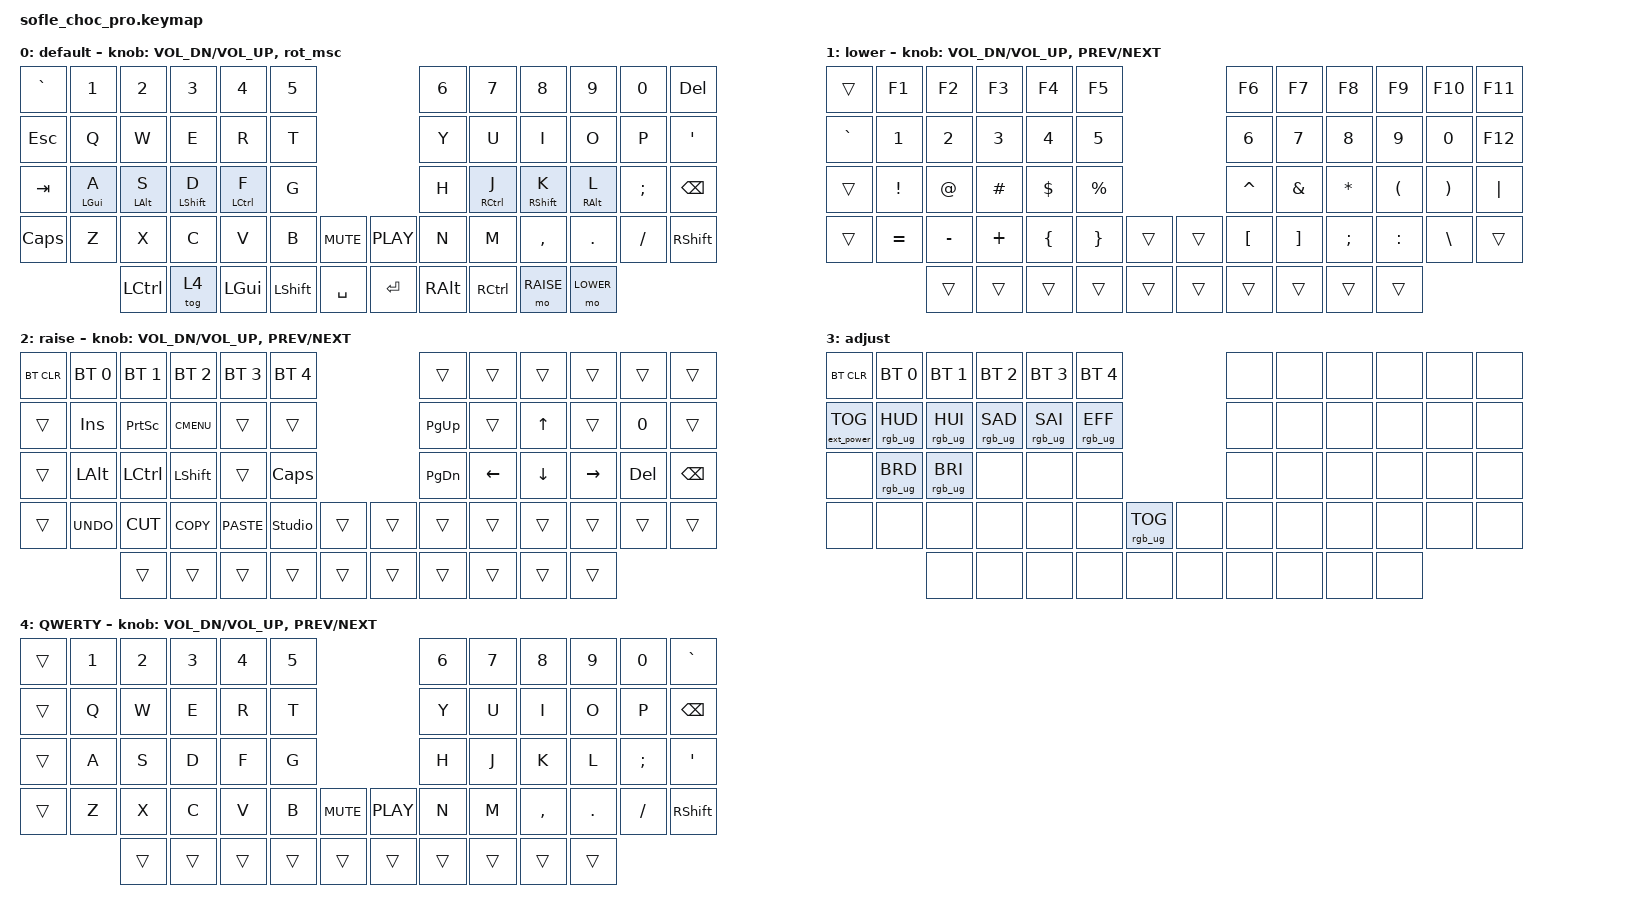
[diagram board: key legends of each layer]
/*
* Copyright (c) 2020 The ZMK Contributors
*
* SPDX-License-Identifier: MIT
*/

#include <behaviors.dtsi>
#include <dt-bindings/zmk/keys.h>
#include <dt-bindings/zmk/bt.h>
#include <dt-bindings/zmk/rgb.h>
#include <dt-bindings/zmk/ext_power.h>
#include <dt-bindings/zmk/pointing.h>

#define BASE 0
#define LOWER 1
#define RAISE 2
#define ADJUST 3
#define QWERTY 4

/ {

  // Activate ADJUST layer by pressing raise and lower
  conditional_layers {
    compatible = "zmk,conditional-layers";
    adjust_layer {
      if-layers = <LOWER RAISE>;
      then-layer = <ADJUST>;
    };
  };

  behaviors {
    rot_msc: sensor_rotate_msc {
        compatible = "zmk,behavior-sensor-rotate";
        #sensor-binding-cells = <0>;
        bindings = <&msc SCRL_DOWN>, <&msc SCRL_UP>;
        tap-ms = <40>;
    };
  };

  keymap {
    compatible = "zmk,keymap";

    default_layer {
      display-name = "default";
      // ------------------------------------------------------------------------------------------------------------
      // |   `   |  1  |  2  |  3   |  4   |  5   |                   |  6   |  7    |  8    |  9   |   0   |  DEL  |
      // |  ESC  |  Q  |  W  |  E   |  R   |  T   |                   |  Y   |  U    |  I    |  O   |   P   | BKSPC |
      // |  TAB  |  A  |  S  |  D   |  F   |  G   |                   |  H   |  J    |  K    |  L   |   ;   |   '   |
      // | SHIFT |  Z  |  X  |  C   |  V   |  B   |  MUTE  |  | PLAY  |  N   |  M    |  ,    |  .   |   /   | SHIFT |
      //               | GUI | ALT  | CTRL | LOWER|  ENTER |  | SPACE | RAISE| CTRL  | ALT   | GUI  |
      bindings = <
        &kp GRAVE &kp N1      &kp N2      &kp N3      &kp N4      &kp N5                          &kp N6    &kp N7       &kp N8       &kp N9      &kp N0   &kp DEL
        &kp ESC   &kp Q       &kp W       &kp E       &kp R       &kp T                           &kp Y     &kp U        &kp I        &kp O       &kp P    &kp SQT
        &kp TAB   &mt LGUI A  &mt LALT S  &mt LSHFT D &mt LCTRL F &kp G                           &kp H     &mt RCTRL J  &mt RSHFT K  &mt RALT L  &kp SEMI &kp BSPC
        &kp CAPS  &kp Z       &kp X       &kp C       &kp V       &kp B     &kp C_MUTE &kp C_PLAY &kp N     &kp M        &kp COMMA    &kp DOT     &kp FSLH &kp RSHFT
                              &kp LCTRL   &tog 4    &kp LGUI    &kp LSHFT &kp SPACE  &kp RET    &kp RALT  &kp RCTRL    &mo RAISE    &mo LOWER
      >;

      sensor-bindings = <&inc_dec_kp C_VOL_DN C_VOL_UP &rot_msc>;
    };

    lower_layer {
      display-name = "lower";
      // ------------------------------------------------------------------------------------------------------------
      // |       |  F1 |  F2 |  F3  |  F4  |  F5  |                   |  F6  |  F7   |  F8   |  F9  |  F10  |  F11  |
      // |   `   |  1  |  2  |  3   |  4   |  5   |                   |  6   |  7    |  8    |  9   |   0   |  F12  |
      // |       |  !  |  @  |  #   |  $   |  %   |                   |  ^   |  &    |  *    |  (   |   )   |   |   |
      // |       |  =  |  -  |  +   |  {   |  }   |        |  |       |  [   |  ]    |  ;    |  :   |   \   |       |
      //               |     |      |      |      |        |  |       |      |       |       |      |
      bindings = <
        &trans    &kp F1    &kp F2    &kp F3      &kp F4    &kp F5                    &kp F6    &kp F7   &kp F8    &kp F9    &kp F10   &kp F11
        &kp GRAVE &kp N1    &kp N2    &kp N3      &kp N4    &kp N5                    &kp N6    &kp N7   &kp N8    &kp N9    &kp N0    &kp F12
        &trans    &kp EXCL  &kp AT    &kp HASH    &kp DLLR  &kp PRCNT                 &kp CARET &kp AMPS &kp ASTRK &kp LPAR  &kp RPAR  &kp PIPE
        &trans    &kp EQUAL &kp MINUS &kp PLUS &kp LBRC  &kp RBRC   &trans &trans  &kp LBKT  &kp RBKT &kp SEMI  &kp COLON &kp BSLH  &trans
        &trans    &trans      &trans    &trans     &trans &trans  &trans    &trans   &trans    &trans
      >;

      sensor-bindings = <&inc_dec_kp C_VOL_DN C_VOL_UP &inc_dec_kp C_PREV C_NEXT>;
    };

    raise_layer {
      display-name = "raise";
      // ------------------------------------------------------------------------------------------------------------
      // | BTCLR | BT1  | BT2  |  BT3  |  BT4  |  BT5 |                |      |      |       |      |       |       |
      // |       | INS  | PSCR | GUI   |       |      |                | PGUP |      |   ^   |      |       |       |
      // |       | ALT  | CTRL | SHIFT |       | CAPS |                | PGDN |   <- |   v   |  ->  |  DEL  | BKSPC |
      // |       | UNDO | CUT  | COPY  | PASTE |      |      |  |      |      |      |       |      |       |       |
      //                |      |       |       |      |      |  |      |      |      |       |      |
      bindings = <
        &bt BT_CLR &bt BT_SEL 0 &bt BT_SEL 1 &bt BT_SEL 2 &bt BT_SEL 3 &bt BT_SEL 4                  &trans    &trans    &trans   &trans    &trans  &trans
        &trans     &kp INS      &kp PSCRN    &kp K_CMENU  &trans       &trans                        &kp PG_UP &trans    &kp UP   &trans    &kp N0  &trans
        &trans     &kp LALT     &kp LCTRL    &kp LSHFT    &trans       &kp CLCK                      &kp PG_DN &kp LEFT  &kp DOWN &kp RIGHT &kp DEL &kp BSPC
        &trans     &kp K_UNDO   &kp K_CUT    &kp K_COPY   &kp K_PASTE  &studio_unlock        &trans  &trans  &trans    &trans    &trans   &trans    &trans  &trans
        &trans       &trans       &trans       &trans        &trans  &trans  &trans    &trans    &trans   &trans
      >;

      sensor-bindings = <&inc_dec_kp C_VOL_DN C_VOL_UP &inc_dec_kp C_PREV C_NEXT>;
    };

    adjust_layer {
      // ----------------------------------------------------------------------------------------------------------------------------
      // | BTCLR  |  BT1    |  BT2    |   BT3   |   BT4   |   BT5   |                  |      |      |       |      |       |       |
      // | EXTPWR | RGB_HUD | RGB_HUI | RGB_SAD | RGB_SAI | RGB_EFF |                  |      |      |       |      |       |       |
      // |        | RGB_BRD | RGB_BRI |         |         |         |                  |      |      |       |      |       |       |
      // |        |         |         |         |         |         | RGB_TOG | |      |      |      |       |      |       |       |
      //                    |         |         |         |         |         | |      |      |      |       |      |
      display-name = "adjust";
      bindings = <
        &bt BT_CLR        &bt BT_SEL 0    &bt BT_SEL 1    &bt BT_SEL 2    &bt BT_SEL 3    &bt BT_SEL 4                            &none &none &none &none &none &none
        &ext_power EP_TOG &rgb_ug RGB_HUD &rgb_ug RGB_HUI &rgb_ug RGB_SAD &rgb_ug RGB_SAI &rgb_ug RGB_EFF                         &none &none &none &none &none &none
        &none             &rgb_ug RGB_BRD &rgb_ug RGB_BRI &none           &none           &none                                   &none &none &none &none &none &none
        &none             &none           &none           &none           &none           &none            &rgb_ug RGB_TOG &none  &none &none &none &none &none &none
        &none           &none           &none           &none            &none           &none  &none &none &none &none
      >;
    };

    qwerty_layer {
      display-name = "QWERTY";
      // ------------------------------------------------------------------------------------------------------------
      // |   `   |  1  |  2  |  3   |  4   |  5   |                   |  6   |  7    |  8    |  9   |   0   |   `   |
      // |  ESC  |  Q  |  W  |  E   |  R   |  T   |                   |  Y   |  U    |  I    |  O   |   P   | BKSPC |
      // |  TAB  |  A  |  S  |  D   |  F   |  G   |                   |  H   |  J    |  K    |  L   |   ;   |   '   |
      // | SHIFT |  Z  |  X  |  C   |  V   |  B   |  MUTE  |  | PLAY  |  N   |  M    |  ,    |  .   |   /   | SHIFT |
      //               | GUI | ALT  | CTRL | LOWER|  ENTER |  | SPACE | RAISE| CTRL  | ALT   | GUI  |
      bindings = <
        &trans &kp N1 &kp N2   &kp N3   &kp N4    &kp N5                           &kp N6 &kp N7    &kp N8    &kp N9   &kp N0   &kp GRAVE
        &trans  &kp Q  &kp W    &kp E    &kp R     &kp T                            &kp Y  &kp U     &kp I     &kp O    &kp P    &kp BSPC
        &trans  &kp A  &kp S    &kp D    &kp F     &kp G                            &kp H  &kp J     &kp K     &kp L    &kp SEMI &kp SQT
        &trans &kp Z  &kp X    &kp C    &kp V     &kp B   &kp C_MUTE &kp C_PLAY    &kp N  &kp M     &kp COMMA &kp DOT  &kp FSLH &kp RSHFT
        &trans       &trans       &trans       &trans        &trans  &trans  &trans    &trans    &trans   &trans
      >;

      sensor-bindings = <&inc_dec_kp C_VOL_DN C_VOL_UP &inc_dec_kp C_PREV C_NEXT>;
    };

  };
};
